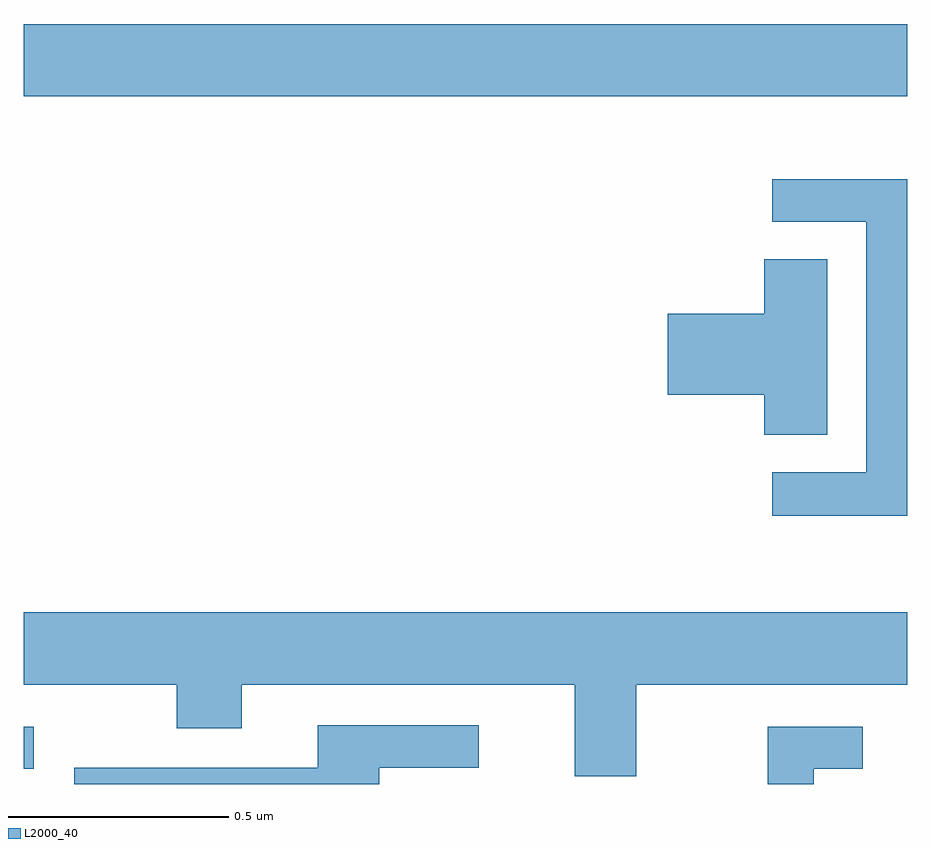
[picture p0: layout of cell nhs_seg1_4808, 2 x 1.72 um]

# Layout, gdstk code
import gdstk
lib = gdstk.Library(unit=1e-6, precision=1e-09)
def R(c, l, rs):  # rectangles x0, y0, x1, y1
    for r in rs: c.add(gdstk.rectangle(r[:2], r[2:], *l))
def P(c, l, *ps):  # polygons
    for p in ps: c.add(gdstk.Polygon(p, *l))
L2000_40 = (2000, 40)

nhs_seg1_4808 = lib.new_cell('nhs_seg1_4808')
R(nhs_seg1_4808, L2000_40, [(171,526.233,171.022,526.329), (171,527.756,173,527.92)])
P(nhs_seg1_4808, L2000_40, [(173,527.568),(172.695,527.568),(172.695,527.472),(172.908,527.472),(172.908,526.905),(172.695,526.905),(172.695,526.807),(173,526.807)],
  [(172.819,527.387),(172.676,527.387),(172.676,527.264),(172.458,527.264),(172.458,527.081),(172.676,527.081),(172.676,526.99),(172.819,526.99)],
  [(172.387,526.424),(173,526.424),(173,526.588),(171,526.588),(171,526.424),(171.346,526.424),(171.346,526.325),(171.493,526.325),(171.493,526.424),(172.247,526.424),(172.247,526.216),(172.387,526.216)],
  [(171.805,526.236),(172.03,526.236),(172.03,526.332),(171.665,526.332),(171.665,526.236),(171.114,526.236),(171.114,526.199),(171.805,526.199)],
  [(172.789,526.233),(172.9,526.233),(172.9,526.329),(172.685,526.329),(172.685,526.199),(172.789,526.199)])

lib.write_gds('nhs_seg1_4808.gds')
